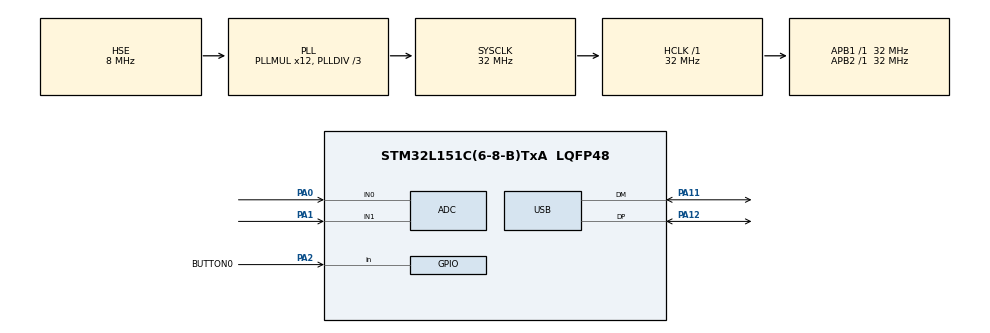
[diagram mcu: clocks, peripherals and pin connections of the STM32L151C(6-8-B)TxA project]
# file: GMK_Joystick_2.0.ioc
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ADC.Channel-0\#ChannelRegularConversion=ADC_CHANNEL_0
ADC.Channel-1\#ChannelRegularConversion=ADC_CHANNEL_1
ADC.ClockPrescaler=ADC_CLOCK_ASYNC_DIV1
ADC.DMAContinuousRequests=ENABLE
ADC.DiscontinuousConvMode=DISABLE
ADC.NbrOfConversion=2
ADC.NbrOfConversionFlag=1
ADC.Rank-0\#ChannelRegularConversion=1
ADC.Rank-1\#ChannelRegularConversion=2
ADC.SamplingTime-0\#ChannelRegularConversion=ADC_SAMPLETIME_9CYCLES
ADC.SamplingTime-1\#ChannelRegularConversion=ADC_SAMPLETIME_9CYCLES
ADC.ScanConvMode=ADC_SCAN_ENABLE
Dma.ADC.0.Direction=DMA_PERIPH_TO_MEMORY
Dma.ADC.0.Instance=DMA1_Channel1
Dma.ADC.0.MemDataAlignment=DMA_MDATAALIGN_HALFWORD
Dma.ADC.0.MemInc=DMA_MINC_ENABLE
Dma.ADC.0.Mode=DMA_NORMAL
Dma.ADC.0.PeriphDataAlignment=DMA_PDATAALIGN_HALFWORD
Dma.ADC.0.PeriphInc=DMA_PINC_DISABLE
Dma.ADC.0.Priority=DMA_PRIORITY_HIGH
Dma.Request0=ADC
Mcu.Family=STM32L1
Mcu.Name=STM32L151C(6-8-B)TxA
Mcu.Package=LQFP48
NVIC.ADC1_IRQn=true\:0\:0\:true\:false\:true\:true\:true\:true
NVIC.DMA1_Channel1_IRQn=true\:0\:0\:false\:false\:true\:false\:true\:true
NVIC.PriorityGroup=NVIC_PRIORITYGROUP_4
NVIC.TIM2_IRQn=true\:0\:0\:true\:false\:true\:true\:true\:true
NVIC.USB_HP_IRQn=true\:1\:0\:true\:false\:true\:true\:true\:true
NVIC.USB_LP_IRQn=true\:1\:0\:true\:false\:true\:false\:true\:true
PA0-WKUP1.Mode=IN0
PA0-WKUP1.Signal=ADC_IN0
PA1.Mode=IN1
PA1.Signal=ADC_IN1
PA11.Mode=Device
PA11.Signal=USB_DM
PA12.Mode=Device
PA12.Signal=USB_DP
PA2.GPIO_Label=BUTTON0
PA2.Signal=GPIO_Input
PH0-OSC_IN.Mode=HSE-External-Oscillator
PH0-OSC_IN.Signal=RCC_OSC_IN
PH1-OSC_OUT.Mode=HSE-External-Oscillator
PH1-OSC_OUT.Signal=RCC_OSC_OUT
ProjectManager.HeapSize=0x200
ProjectManager.StackSize=0x400
ProjectManager.TargetToolchain=STM32CubeIDE
RCC.48MHZClocksFreq_Value=48000000
RCC.AHBFreq_Value=32000000
RCC.APB1Freq_Value=32000000
RCC.APB1TimFreq_Value=32000000
RCC.APB2Freq_Value=32000000
RCC.APB2TimFreq_Value=32000000
RCC.HCLKFreq_Value=32000000
RCC.HSE_VALUE=8000000
RCC.HSI_VALUE=16000000
RCC.LSE_VALUE=32768
RCC.MSI_VALUE=2097000
RCC.PLLDIV=RCC_PLL_DIV3
RCC.PLLMUL=RCC_PLL_MUL12
RCC.SYSCLKFreq_VALUE=32000000
RCC.SYSCLKSource=RCC_SYSCLKSOURCE_PLLCLK
RCC.VCOOutputFreq_Value=96000000
TIM2.Channel-Output\ Compare1\ No\ Output=TIM_CHANNEL_1
TIM2.Channel-Output\ Compare2\ No\ Output=TIM_CHANNEL_2
TIM2.ClockDivision=TIM_CLOCKDIVISION_DIV1
TIM2.OC1Preload=ENABLE
TIM2.OC2Preload=ENABLE
TIM2.OCMode_1=TIM_OCMODE_ACTIVE
TIM2.OCMode_2=TIM_OCMODE_ACTIVE
TIM2.Period=64-1
TIM2.Prescaler=1000-1
TIM2.Pulse-Output\ Compare1\ No\ Output=32-1
TIM2.Pulse-Output\ Compare2\ No\ Output=64-1
TIM2.TIM_MasterOutputTrigger=TIM_TRGO_RESET
USB_DEVICE.CLASS_NAME_FS=CUSTOM_HID
USB_DEVICE.CUSTOM_HID_FS_BINTERVAL=0x01
USB_DEVICE.USBD_CUSTOMHID_OUTREPORT_BUF_SIZE=13
USB_DEVICE.USBD_CUSTOM_HID_REPORT_DESC_SIZE=65
USB_DEVICE.USBD_SELF_POWERED=0
USB_DEVICE.VirtualMode=CustomHid
USB_DEVICE.VirtualModeFS=Custom_Hid_FS
VP_TIM2_VS_no_output1.Mode=Output Compare1 No Output
VP_TIM2_VS_no_output2.Mode=Output Compare2 No Output
VP_USB_DEVICE_VS_USB_DEVICE_CUSTOM_HID_FS.Mode=CUSTOM_HID_FS
board=custom

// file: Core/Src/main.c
/* USER CODE BEGIN Header */
/**
  ******************************************************************************
  * @file           : main.c
  * @brief          : Main program body
  ******************************************************************************
  * @attention
  *
  * Copyright (c) 2023 STMicroelectronics.
  * All rights reserved.
  *
  * This software is licensed under terms that can be found in the LICENSE file
  * in the root directory of this software component.
  * If no LICENSE file comes with this software, it is provided AS-IS.
  *
  ******************************************************************************
  */
/* USER CODE END Header */
#include "main.h"
#include "usb_device.h"

/* USER CODE BEGIN Includes */

#include "usbd_customhid.h"

/* USER CODE END Includes */

/* USER CODE BEGIN PD */

#define lowByte(w) ((uint8_t) ((w) & 0xff))
#define highByte(w) ((uint8_t) ((w) >> 8))

/* USER CODE END PD */

ADC_HandleTypeDef hadc;
DMA_HandleTypeDef hdma_adc;

TIM_HandleTypeDef htim2;

/* USER CODE BEGIN PV */

uint16_t failed_tx;
uint16_t failed_tx_max;
uint16_t failed_tx_avg;

extern USBD_HandleTypeDef hUsbDeviceFS;

ADC_HandleTypeDef hadc;
DMA_HandleTypeDef hdma_adc;

TIM_HandleTypeDef htim2;

State_TypeDef event_state[EVENT_BUFFER_LENGTH];
uint8_t event_index_read = 0;
uint8_t event_index_write = 0;
uint8_t event_difference = 0;
uint8_t event_difference_max = 0;

uint16_t adc_buffer[2];

Joystick_HandleTypeDef joystick;
Controller_HandleTypeDef controller;

static struct {
	uint8_t report_id;
	uint8_t buttons[2];
	uint8_t joysticks[8];
	uint8_t triggers[2];
} hid_output_data;

USBD_CUSTOM_HID_HandleTypeDef* hhid;

/* USER CODE END PV */

void SystemClock_Config(void);
static void MX_GPIO_Init(void);
static void MX_DMA_Init(void);
static void MX_TIM2_Init(void);
static void MX_ADC_Init(void);
/* USER CODE BEGIN PFP */

void write_next_event_state(State_TypeDef next_state);

void HAL_ADC_ConvCpltCallback(ADC_HandleTypeDef* hadc);
uint8_t Send_HID_Data(Controller_HandleTypeDef* controller);

extern uint8_t USBD_CUSTOM_HID_SendReport(USBD_HandleTypeDef* pdev, uint8_t* report, uint16_t len);

void HAL_ADC_ConvCpltCallback(ADC_HandleTypeDef *hadc);
extern uint8_t USBD_CUSTOM_HID_SendReport (USBD_HandleTypeDef  *pdev, uint8_t *report, uint16_t len);
extern USBD_StatusTypeDef USBD_LL_Transmit(USBD_HandleTypeDef *pdev, uint8_t ep_addr, uint8_t *pbuf, uint16_t size);

/* USER CODE END PFP */

int main(void)
{

  /* MCU Configuration--------------------------------------------------------*/

  /* Reset of all peripherals, Initializes the Flash interface and the Systick. */
  HAL_Init();

  /* Configure the system clock */
  SystemClock_Config();

  /* Initialize all configured peripherals */
  MX_GPIO_Init();
  MX_DMA_Init();
  MX_USB_DEVICE_Init();
  MX_TIM2_Init();
  MX_ADC_Init();
  /* USER CODE BEGIN 2 */

	HAL_TIM_Base_Start(&htim2);

	HAL_TIM_OC_Start_IT(&htim2, TIM_CHANNEL_1);
	HAL_TIM_OC_Start_IT(&htim2, TIM_CHANNEL_2);

	joystick = Joystick_Init(&adc_buffer[0], &adc_buffer[1]);

  /* USER CODE END 2 */

  /* Infinite loop */
  /* USER CODE BEGIN WHILE */

	for (uint8_t i = 0; i < EVENT_BUFFER_LENGTH; i++) {
		event_state[i] = EVENT_WAIT;
	}

	while (1)
	{
		switch (event_state[event_index_read])
		{
		case EVENT_WAIT:
			controller.buttons.a = HAL_GPIO_ReadPin(BUTTON0_GPIO_Port, BUTTON0_Pin);
			break;
		case TIM_EVENT_1:
			HAL_ADC_Start_DMA(&hadc, (uint32_t*)adc_buffer, 2); //Trigger Joystick ADC read
			break;
		case TIM_EVENT_2:
			write_next_event_state(USB_EVENT_HID_GAMEPAD_UPDATE);
			break;
		case ADC_EVENT_UPDATE:
			Joystick_Update(&joystick);
			uint8_t invert_x = 0;
			uint8_t invert_y = 0;
			float deadzone_x = 0.05f;
			float deadzone_y = 0.05f;
			float val_x = invert_x ? -joystick.x.val : joystick.x.val;
			float val_y = invert_y ? -joystick.y.val : joystick.y.val;
			controller.joysticks._bits[0] = 0;
			controller.joysticks._bits[1] = 0;
			if ((val_x > deadzone_x) || (val_x < -deadzone_x)) {
				controller.joysticks.left.y += (int16_t)(val_x * (float)INT16_MAX);
			}
			if ((val_y > deadzone_y) || (val_y < -deadzone_y)) {
				controller.joysticks.left.x += (int16_t)(val_y * (float)INT16_MAX);
			}
			hid_output_data.report_id = 1;
			hid_output_data.buttons[0] = lowByte(controller.buttons._bits);
			hid_output_data.buttons[1] = highByte(controller.buttons._bits);
			hid_output_data.joysticks[0] = lowByte(controller.joysticks.left.x);
			hid_output_data.joysticks[1] = highByte(controller.joysticks.left.x);
			hid_output_data.joysticks[2] = lowByte(controller.joysticks.left.y);
			hid_output_data.joysticks[3] = highByte(controller.joysticks.left.y);
			hid_output_data.joysticks[4] = lowByte(controller.joysticks.right.x);
			hid_output_data.joysticks[5] = highByte(controller.joysticks.right.x);
			hid_output_data.joysticks[6] = lowByte(controller.joysticks.right.y);
			hid_output_data.joysticks[7] = highByte(controller.joysticks.right.y);
			hid_output_data.triggers[0] = controller.triggers.left;
			hid_output_data.triggers[1] = controller.triggers.right;
			break;
		case USB_EVENT_HID_GAMEPAD_UPDATE:
			if(USBD_CUSTOM_HID_SendReport(&hUsbDeviceFS, (uint8_t *)&hid_output_data, sizeof(hid_output_data)) == USBD_OK)
			{
				failed_tx = 0;
			}
			else
			{
				//write_next_event_state(USB_EVENT_HID_GAMEPAD_UPDATE);
				failed_tx++;
				failed_tx_max = (failed_tx > failed_tx_max) ? failed_tx : failed_tx_max;
				failed_tx_avg = (failed_tx_max + failed_tx) / 2;
			}
			break;
		}

		if (event_index_read != event_index_write)
		{
			event_index_read = (event_index_read + 1) % EVENT_BUFFER_LENGTH;
		}
		else
		{
			write_next_event_state(EVENT_WAIT);
		}

		event_difference = (event_index_write >= event_index_read) ?
			event_index_write - event_index_read :
			event_index_write + (UINT8_MAX - event_index_read);
		event_difference_max = (event_difference > event_difference_max) ?
			event_difference :
			event_difference_max;
    /* USER CODE END WHILE */

	}
}

void SystemClock_Config(void)
{
  RCC_OscInitTypeDef RCC_OscInitStruct = {0};
  RCC_ClkInitTypeDef RCC_ClkInitStruct = {0};

  /** Configure the main internal regulator output voltage
  */
  __HAL_PWR_VOLTAGESCALING_CONFIG(PWR_REGULATOR_VOLTAGE_SCALE1);

  /** Initializes the RCC Oscillators according to the specified parameters
  * in the RCC_OscInitTypeDef structure.
  */
  RCC_OscInitStruct.OscillatorType = RCC_OSCILLATORTYPE_HSI|RCC_OSCILLATORTYPE_HSE;
  RCC_OscInitStruct.HSEState = RCC_HSE_ON;
  RCC_OscInitStruct.HSIState = RCC_HSI_ON;
  RCC_OscInitStruct.HSICalibrationValue = RCC_HSICALIBRATION_DEFAULT;
  RCC_OscInitStruct.PLL.PLLState = RCC_PLL_ON;
  RCC_OscInitStruct.PLL.PLLSource = RCC_PLLSOURCE_HSE;
  RCC_OscInitStruct.PLL.PLLMUL = RCC_PLL_MUL12;
  RCC_OscInitStruct.PLL.PLLDIV = RCC_PLL_DIV3;
  if (HAL_RCC_OscConfig(&RCC_OscInitStruct) != HAL_OK)
  {
    Error_Handler();
  }

  /** Initializes the CPU, AHB and APB buses clocks
  */
  RCC_ClkInitStruct.ClockType = RCC_CLOCKTYPE_HCLK|RCC_CLOCKTYPE_SYSCLK
                              |RCC_CLOCKTYPE_PCLK1|RCC_CLOCKTYPE_PCLK2;
  RCC_ClkInitStruct.SYSCLKSource = RCC_SYSCLKSOURCE_PLLCLK;
  RCC_ClkInitStruct.AHBCLKDivider = RCC_SYSCLK_DIV1;
  RCC_ClkInitStruct.APB1CLKDivider = RCC_HCLK_DIV1;
  RCC_ClkInitStruct.APB2CLKDivider = RCC_HCLK_DIV1;

  if (HAL_RCC_ClockConfig(&RCC_ClkInitStruct, FLASH_LATENCY_1) != HAL_OK)
  {
    Error_Handler();
  }
}

static void MX_ADC_Init(void)
{

  ADC_ChannelConfTypeDef sConfig = {0};

  /** Configure the global features of the ADC (Clock, Resolution, Data Alignment and number of conversion)
  */
  hadc.Instance = ADC1;
  hadc.Init.ClockPrescaler = ADC_CLOCK_ASYNC_DIV1;
  hadc.Init.Resolution = ADC_RESOLUTION_12B;
  hadc.Init.DataAlign = ADC_DATAALIGN_RIGHT;
  hadc.Init.ScanConvMode = ADC_SCAN_ENABLE;
  hadc.Init.EOCSelection = ADC_EOC_SEQ_CONV;
  hadc.Init.LowPowerAutoWait = ADC_AUTOWAIT_DISABLE;
  hadc.Init.LowPowerAutoPowerOff = ADC_AUTOPOWEROFF_DISABLE;
  hadc.Init.ChannelsBank = ADC_CHANNELS_BANK_A;
  hadc.Init.ContinuousConvMode = DISABLE;
  hadc.Init.NbrOfConversion = 2;
  hadc.Init.DiscontinuousConvMode = DISABLE;
  hadc.Init.ExternalTrigConv = ADC_SOFTWARE_START;
  hadc.Init.ExternalTrigConvEdge = ADC_EXTERNALTRIGCONVEDGE_NONE;
  hadc.Init.DMAContinuousRequests = ENABLE;
  if (HAL_ADC_Init(&hadc) != HAL_OK)
  {
    Error_Handler();
  }

  /** Configure for the selected ADC regular channel its corresponding rank in the sequencer and its sample time.
  */
  sConfig.Channel = ADC_CHANNEL_0;
  sConfig.Rank = ADC_REGULAR_RANK_1;
  sConfig.SamplingTime = ADC_SAMPLETIME_9CYCLES;
  if (HAL_ADC_ConfigChannel(&hadc, &sConfig) != HAL_OK)
  {
    Error_Handler();
  }

  /** Configure for the selected ADC regular channel its corresponding rank in the sequencer and its sample time.
  */
  sConfig.Channel = ADC_CHANNEL_1;
  sConfig.Rank = ADC_REGULAR_RANK_2;
  if (HAL_ADC_ConfigChannel(&hadc, &sConfig) != HAL_OK)
  {
    Error_Handler();
  }

}

static void MX_TIM2_Init(void)
{

  TIM_MasterConfigTypeDef sMasterConfig = {0};
  TIM_OC_InitTypeDef sConfigOC = {0};

  htim2.Instance = TIM2;
  htim2.Init.Prescaler = 1000-1;
  htim2.Init.CounterMode = TIM_COUNTERMODE_UP;
  htim2.Init.Period = 64-1;
  htim2.Init.ClockDivision = TIM_CLOCKDIVISION_DIV1;
  htim2.Init.AutoReloadPreload = TIM_AUTORELOAD_PRELOAD_DISABLE;
  if (HAL_TIM_OC_Init(&htim2) != HAL_OK)
  {
    Error_Handler();
  }
  sMasterConfig.MasterOutputTrigger = TIM_TRGO_RESET;
  sMasterConfig.MasterSlaveMode = TIM_MASTERSLAVEMODE_DISABLE;
  if (HAL_TIMEx_MasterConfigSynchronization(&htim2, &sMasterConfig) != HAL_OK)
  {
    Error_Handler();
  }
  sConfigOC.OCMode = TIM_OCMODE_ACTIVE;
  sConfigOC.Pulse = 32-1;
  sConfigOC.OCPolarity = TIM_OCPOLARITY_HIGH;
  sConfigOC.OCFastMode = TIM_OCFAST_DISABLE;
  if (HAL_TIM_OC_ConfigChannel(&htim2, &sConfigOC, TIM_CHANNEL_1) != HAL_OK)
  {
    Error_Handler();
  }
  __HAL_TIM_ENABLE_OCxPRELOAD(&htim2, TIM_CHANNEL_1);
  sConfigOC.Pulse = 64-1;
  if (HAL_TIM_OC_ConfigChannel(&htim2, &sConfigOC, TIM_CHANNEL_2) != HAL_OK)
  {
    Error_Handler();
  }
  __HAL_TIM_ENABLE_OCxPRELOAD(&htim2, TIM_CHANNEL_2);

}

static void MX_DMA_Init(void)
{

  /* DMA controller clock enable */
  __HAL_RCC_DMA1_CLK_ENABLE();

  /* DMA interrupt init */
  /* DMA1_Channel1_IRQn interrupt configuration */
  HAL_NVIC_SetPriority(DMA1_Channel1_IRQn, 0, 0);
  HAL_NVIC_EnableIRQ(DMA1_Channel1_IRQn);

}

static void MX_GPIO_Init(void)
{
  GPIO_InitTypeDef GPIO_InitStruct = {0};

  /* GPIO Ports Clock Enable */
  __HAL_RCC_GPIOH_CLK_ENABLE();
  __HAL_RCC_GPIOA_CLK_ENABLE();

  /*Configure GPIO pin : BUTTON0_Pin */
  GPIO_InitStruct.Pin = BUTTON0_Pin;
  GPIO_InitStruct.Mode = GPIO_MODE_INPUT;
  GPIO_InitStruct.Pull = GPIO_NOPULL;
  HAL_GPIO_Init(BUTTON0_GPIO_Port, &GPIO_InitStruct);

}

/* USER CODE BEGIN 4 */

void write_next_event_state(State_TypeDef next_state) {
	event_index_write = (event_index_write + 1) % EVENT_BUFFER_LENGTH;
	event_state[event_index_write] = next_state;
}

void HAL_TIM_OC_DelayElapsedCallback(TIM_HandleTypeDef* htim) {
	switch (htim->Channel) {
	case HAL_TIM_ACTIVE_CHANNEL_1:
		write_next_event_state(TIM_EVENT_1);
		break;
	case HAL_TIM_ACTIVE_CHANNEL_2:
		write_next_event_state(TIM_EVENT_2);
		break;
	default:
		break;
	}
}

void HAL_ADC_ConvCpltCallback(ADC_HandleTypeDef* hadc) {
	write_next_event_state(ADC_EVENT_UPDATE);
}

uint8_t Send_HID_Data(Controller_HandleTypeDef* controller) {
	hid_output_data.report_id = 1;
	hid_output_data.buttons[0] = lowByte(controller->buttons._bits);
	hid_output_data.buttons[1] = highByte(controller->buttons._bits);
	hid_output_data.joysticks[0] = lowByte(controller->joysticks.left.x);
	hid_output_data.joysticks[1] = highByte(controller->joysticks.left.x);
	hid_output_data.joysticks[2] = lowByte(controller->joysticks.left.y);
	hid_output_data.joysticks[3] = highByte(controller->joysticks.left.y);
	hid_output_data.joysticks[4] = lowByte(controller->joysticks.right.x);
	hid_output_data.joysticks[5] = highByte(controller->joysticks.right.x);
	hid_output_data.joysticks[6] = lowByte(controller->joysticks.right.y);
	hid_output_data.joysticks[7] = highByte(controller->joysticks.right.y);
	hid_output_data.triggers[0] = controller->triggers.left;
	hid_output_data.triggers[1] = controller->triggers.right;
	return USBD_CUSTOM_HID_SendReport(&hUsbDeviceFS, (uint8_t*)&hid_output_data, sizeof(hid_output_data)); //Send GMK Controller HID Data
}

/* USER CODE END 4 */

void Error_Handler(void)
{
	__disable_irq();
	while (1)
	{
	}
}
